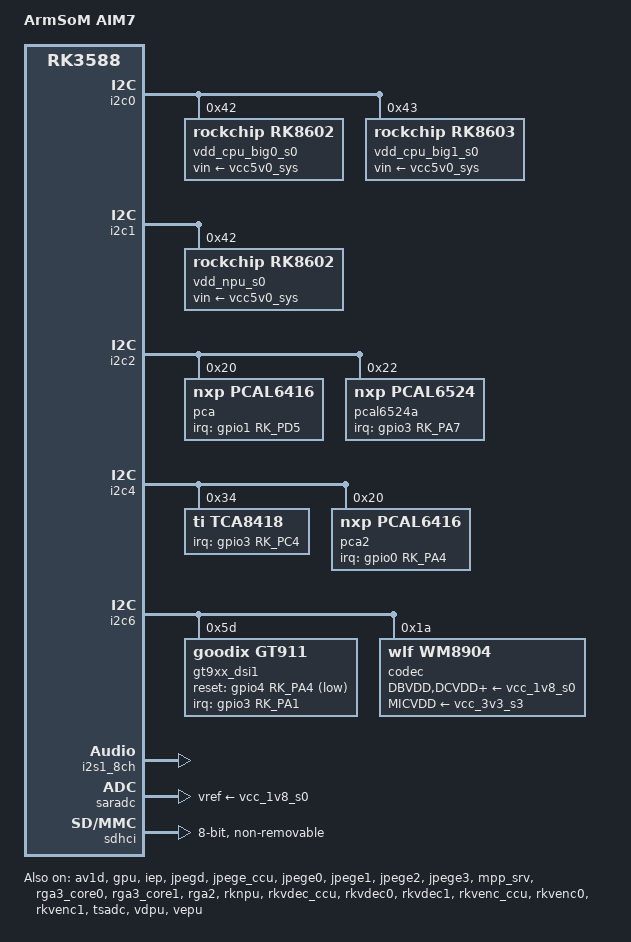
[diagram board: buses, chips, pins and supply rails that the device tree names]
// SPDX-License-Identifier: (GPL-2.0+ OR MIT)
/*
 * Copyright (c) 2024 Jianfeng Liu <liujianfeng1994@gmail.com>
 *#include "rk3588-lubancat-cam.dtsi" #include "rk3588-lubancat-5io-cam0.dtsi"
 */

#include <dt-bindings/gpio/gpio.h>
#include <dt-bindings/pinctrl/rockchip.h>
#include "rk3588.dtsi"
#include "rk3588-rk806-single.dtsi"
#include <dt-bindings/usb/pd.h>
#include <dt-bindings/pwm/pwm.h>
#include <dt-bindings/input/linux-event-codes.h>
#include <dt-bindings/display/rockchip_vop.h>
#include <dt-bindings/sensor-dev.h>
#include "rk3588-linux.dtsi"
#include <dt-bindings/clock/rk3588-cru.h>
#include <dt-bindings/power/rk3588-power.h>

/ {
	model = "ArmSoM AIM7 ";
	compatible = "armsom,aim7", "rockchip,rk3588";
	
		wm8904_sound: wm8904_sound {
		compatible = "simple-audio-card";
		simple-audio-card,format = "i2s";
		simple-audio-card,mclk-fs = <256>;
		simple-audio-card,name = "rockchip-wm8904";
		simple-audio-card,cpu {
				sound-dai = <&i2s1_8ch>;
			};
		simple-audio-card,codec {
				sound-dai = <&codec>;
			};
		
	};
	
	/*wm8904_sound: wm8904-sound {
		status = "okay";
		compatible = "rockchip,multicodecs-card";
		rockchip,card-name = "rockchip-wm8904";
		rockchip,codec-hp-det;
		poll-interval = <100>;
		rockchip,format = "i2s";
		rockchip,mclk-fs = <256>;
		rockchip,cpu = <&i2s1_8ch>;
		rockchip,codec = <&codec>;
		rockchip,audio-routing =
		
			"Headphone", "LOUT1",
			"Headphone", "ROUT1",
			"Headphone", "Headphone Power",
			"Headphone", "Headphone Power",
			"LINPUT1", "Main Mic",
			"LINPUT2", "Main Mic",
			"RINPUT1", "Headset Mic",
			"RINPUT2", "Headset Mic";
		
	};*/
};

&av1d {
	status = "okay";
};

&av1d_mmu {
	status = "okay";
};

&cpu_l0 {
	cpu-supply = <&vdd_cpu_lit_s0>;
	mem-supply = <&vdd_cpu_lit_mem_s0>;
};

&cpu_b0 {
	cpu-supply = <&vdd_cpu_big0_s0>;
	mem-supply = <&vdd_cpu_big0_mem_s0>;
};

&cpu_b2 {
	cpu-supply = <&vdd_cpu_big1_s0>;
	mem-supply = <&vdd_cpu_big1_mem_s0>;
};

&gpu {
	mali-supply = <&vdd_gpu_s0>;
	mem-supply = <&vdd_gpu_mem_s0>;
	status = "okay";
};

&i2c0 {
	status = "okay";
	pinctrl-names = "default";
	pinctrl-0 = <&i2c0m2_xfer>;

	vdd_cpu_big0_s0: vdd_cpu_big0_mem_s0: rk8602@42 {
		compatible = "rockchip,rk8602";
		reg = <0x42>;
		vin-supply = <&vcc5v0_sys>;
		regulator-compatible = "rk860x-reg";
		regulator-name = "vdd_cpu_big0_s0";
		regulator-min-microvolt = <550000>;
		regulator-max-microvolt = <1050000>;
		regulator-ramp-delay = <2300>;
		rockchip,suspend-voltage-selector = <1>;
		regulator-boot-on;
		regulator-always-on;

		regulator-state-mem {
			regulator-off-in-suspend;
		};
	};

	vdd_cpu_big1_s0: vdd_cpu_big1_mem_s0: rk8603@43 {
		compatible = "rockchip,rk8603";
		reg = <0x43>;
		vin-supply = <&vcc5v0_sys>;
		regulator-compatible = "rk860x-reg";
		regulator-name = "vdd_cpu_big1_s0";
		regulator-min-microvolt = <550000>;
		regulator-max-microvolt = <1050000>;
		regulator-ramp-delay = <2300>;
		rockchip,suspend-voltage-selector = <1>;
		regulator-boot-on;
		regulator-always-on;

		regulator-state-mem {
			regulator-off-in-suspend;
		};
	};
};

&i2c1 {
	status = "okay";
	pinctrl-names = "default";
	pinctrl-0 = <&i2c1m2_xfer>;

	vdd_npu_s0: vdd_npu_mem_s0: rk8602@42 {
		compatible = "rockchip,rk8602";
		reg = <0x42>;
		vin-supply = <&vcc5v0_sys>;
		regulator-compatible = "rk860x-reg";
		regulator-name = "vdd_npu_s0";
		regulator-min-microvolt = <550000>;
		regulator-max-microvolt = <950000>;
		regulator-ramp-delay = <2300>;
		rockchip,suspend-voltage-selector = <1>;
		regulator-boot-on;
		regulator-always-on;

		regulator-state-mem {
			regulator-off-in-suspend;
		};
	};
};

&i2c2 {
         status = "okay";
	pinctrl-names = "default";
	pinctrl-0 = <&i2c2m0_xfer>;
	 
  pca: pcal6416a@20 {
		   compatible = "nxp,pcal6416";
		     status = "okay";
		    gpio-controller;
		    #gpio-cells = <2>;
		    reg = <0x20>;
		interrupt-parent = <&gpio1>;
		 interrupts = <RK_PD5 IRQ_TYPE_LEVEL_HIGH>;
		interrupt-controller;
		 #interrupt-cells = <2>;                                
	           };
	           
	           
   pcal6524a@22 {
		   compatible = "nxp,pcal6524";
		    status = "okay";
		    gpio-controller;
		    #gpio-cells = <2>;
		    reg = <0x22>;
		interrupt-parent = <&gpio3>;
		 interrupts = <RK_PA7 IRQ_TYPE_LEVEL_HIGH>;
		interrupt-controller;
		 #interrupt-cells = <2>;
                    
	          };    
		    
		    
		    

};

&i2c4 {
        status = "okay";
	pinctrl-names = "default";
	pinctrl-0 = <&i2c4m2_xfer>;
	
	
 tca8418@34 {
                  compatible = "ti,tca8418";
                  interrupt-parent = <&gpio3>;
		 interrupts = <RK_PC4 IRQ_TYPE_LEVEL_HIGH>;
                   reg = <0x34>;
                   keypad,num-rows = <3>;
                   keypad,num-columns = <2>;
                   linux,keymap = <
                        0x0000003b
                        0x0001003c
                        0x0100003d
                        0x0101003e
                        0x0200003f
                        0x02010040
                      >;
                       status = "okay";
		    };
		    
	  	 
	
	  pca2: pcal6416@20 {
		   compatible = "nxp,pcal6416";
		     status = "okay";
		    gpio-controller;
		    #gpio-cells = <2>;
		    reg = <0x20>;
		interrupt-parent = <&gpio0>;
		 interrupts = <RK_PA4 IRQ_TYPE_LEVEL_HIGH>;
		interrupt-controller;
		 #interrupt-cells = <2>;
	           };
	

};
&i2c6 {
        status = "okay";
	pinctrl-names = "default";
	pinctrl-0 = <&i2c6m1_xfer>;
	
	
	 gt9xx_dsi1: gt911@5d {
	    status = "okay";
            compatible = "goodix,gt911";
            reg = <0x5d>;
            interrupt-parent = <&gpio3>;
	    interrupts = <RK_PA1 IRQ_TYPE_LEVEL_LOW>;
            reset-gpios = <&gpio4 RK_PA4  GPIO_ACTIVE_LOW>;
            irq-gpios = <&gpio3 RK_PA1  GPIO_ACTIVE_HIGH>;
            touchscreen-inverted-x = <1>;
	    touchscreen-inverted-y = <1>;
                };		
	
	  codec: wm8904@1a { 
               status = "okay";
		#sound-dai-cells = <0>;
		compatible = "wlf,wm8904";
		reg = <0x1a>;
		clocks = <&mclkout_i2s1>;
		clock-names = "mclk";
		assigned-clocks = <&mclkout_i2s1>;
		assigned-clock-rates = <12288000>;
		pinctrl-names = "default";
		pinctrl-0 = <&i2s1m0_mclk>;
		DBVDD-supply = <&vcc_1v8_s0>;
                DCVDD-supply = <&vcc_1v8_s0>;
                AVDD-supply = <&vcc_1v8_s0>;
                CPVDD-supply = <&vcc_1v8_s0>;
                MICVDD-supply = <&vcc_3v3_s3>;
                       };
                                         
	
};
&i2s1_8ch {
	status = "okay";
	rockchip,clk-trcm = <1>;
	pinctrl-names = "default";
	pinctrl-0 = <&i2s1m0_lrck
			     &i2s1m0_sclk
			     &i2s1m0_sdi0
			      &i2s1m0_sdo0
			     >;


			 
			 
};


/*

&i2c3 {
	 status = "okay";
         pinctrl-names = "default";
         pinctrl-0 = <&i2c3m0_xfer>;
    

	dcphy0_imx415: imx415@1a {
		compatible = "sony,imx586";
		status = "okay";
		reg = <0x1a>;
		clocks = <&ext_cam_24m_clk>;
		clock-names = "xvclk";
		power-domains = <&power RK3588_PD_VI>;
		avdd-supply = <&cam_avdd>;
		dovdd-supply = <&cam_dovdd>;
		dvdd-supply = <&cam_dvdd>;
	//	pwdn-gpios = <&gpio6 0 GPIO_ACTIVE_HIGH>;
		reset-gpios = <&gpio3 RK_PA2 GPIO_ACTIVE_LOW>;

		rockchip,camera-module-index = <0>;
		rockchip,camera-module-facing = "back";
		rockchip,camera-module-name = "RADXA-CAMERA-8M";
		rockchip,camera-module-lens-name =  "default";
		//lens-focus = <&dw9800w>;
		// NO_HDR:0 HDR_X2:5 HDR_X3:6
		// rockchip,camera-hdr-mode = <0>;
		port {
			imx415_dcphy0_out: endpoint {
				remote-endpoint = <&dcphy0_in_imx415>;
				data-lanes = <1 2 3 4>;
			};
		};
	};
};

&mipi_dcphy0 {
	status = "okay";
};

&csi2_dcphy0 {
	status = "okay";
	
	ports {
		#address-cells = <1>;
		#size-cells = <0>;

		port@0 {
			reg = <0>;
			#address-cells = <1>;
			#size-cells = <0>;

			dcphy0_in_imx415: endpoint@5 {
				reg = <1>;
				remote-endpoint = <&imx415_dcphy0_out>;
				data-lanes = <1 2 3 4>;
			};
		};

		port@1 {
			reg = <1>;
			#address-cells = <1>;
			#size-cells = <0>;

			csidcphy0_out: endpoint@0 {
				reg = <0>;
				remote-endpoint = <&mipi0_csi2_input>;
			};
		};
	};
};

&mipi0_csi2 {
	status = "okay";

	ports {
		#address-cells = <1>;
		#size-cells = <0>;

		port@0 {
			reg = <0>;
			#address-cells = <1>;
			#size-cells = <0>;

			mipi0_csi2_input: endpoint@1 {
				reg = <1>;
				remote-endpoint = <&csidcphy0_out>;
			};
		};

		port@1 {
			reg = <1>;
			#address-cells = <1>;
			#size-cells = <0>;

			mipi0_csi2_output: endpoint@0 {
				reg = <0>;
				remote-endpoint = <&cif_mipi_in0>;
			};
		};
	};
};

&rkcif {
	status = "okay";
};

&rkcif_mipi_lvds {
	status = "okay";

	port {
		cif_mipi_in0: endpoint {
			remote-endpoint = <&mipi0_csi2_output>;
		};
	};
};

&rkcif_mipi_lvds_sditf {
	status = "okay";

	port {
		mipi_lvds_sditf: endpoint {
			remote-endpoint = <&isp0_vir0>;
		};
	};
};

&rkcif_mmu {
	status = "okay";
};

&rkisp0 {
	status = "okay";
};

&isp0_mmu {
	status = "okay";
};

&rkisp0_vir0 {
	status = "okay";

	port {
		#address-cells = <1>;
		#size-cells = <0>;

		isp0_vir0: endpoint@0 {
			reg = <0>;
			remote-endpoint = <&mipi_lvds_sditf>;
		};
	};
};


*/



/*
&i2c3 {
    status = "okay";
    #address-cells = <1>;
    #size-cells = <0>;
    pinctrl-names = "default";
    pinctrl-0 = <&i2c3m0_xfer>;
    
    imx586: imx586@1a {
        status = "okay";
        compatible = "sony,imx586";
        reg = <0x1a>;
        clocks = <&ext_cam_24m_clk>;
        clock-names = "xvclk";
        power-domains = <&power RK3588_PD_VI>;
	avdd-supply = <&cam_avdd>;
	dovdd-supply = <&cam_dovdd>;
	dvdd-supply = <&cam_dvdd>;
	reset-gpios = <&gpio3 RK_PA2 GPIO_ACTIVE_HIGH>;
      //pwdn-gpios = <&gpio3 RK_PA2 GPIO_ACTIVE_HIGH>;
	rockchip,camera-module-index = <0>;
	rockchip,camera-module-facing = "back";
	rockchip,camera-module-name = "CMK-OT1607-FV1";
	rockchip,camera-module-lens-name = "M12-40IRC-4MP-F16";
	port {
		imx586_out0: endpoint {
			remote-endpoint = <&mipidphy0_in_ucam0>;
			data-lanes = <1 2>;
				     };
	     };
        };
};


&mipi_dcphy0 {
	status = "okay";
};



&csi2_dphy0_hw {
    status = "okay";
};

&csi2_dphy1_hw {
    status = "okay";
};


&csi2_dphy0 {
    status = "okay";

    ports {
        #address-cells = <1>;
        #size-cells = <0>;

        port@0 {
            reg = <0>;
            #address-cells = <1>;
            #size-cells = <0>;

            mipidphy0_in_ucam0: endpoint@1 {
                reg = <1>;
                remote-endpoint = <&imx586_out0>;
                data-lanes = <1 2>;
            };

        };

        port@1 {
            reg = <1>;
            #address-cells = <1>;
            #size-cells = <0>;

            csidphy0_out: endpoint@0 {
                reg = <0>;
                remote-endpoint = <&mipi2_csi2_input>;
            };
        };
    };
};

&mipi2_csi2 {
    status = "okay";

    ports {
        #address-cells = <1>;
        #size-cells = <0>;

        port@0 {
            reg = <0>;
            #address-cells = <1>;
            #size-cells = <0>;

            mipi2_csi2_input: endpoint@1 {
                reg = <1>;
                remote-endpoint = <&csidphy0_out>;
            };
        };

        port@1 {
            reg = <1>;
            #address-cells = <1>;
            #size-cells = <0>;

            mipi2_csi2_output: endpoint@0 {
                reg = <0>;
                remote-endpoint = <&cif_mipi2_in0>;
            };
        };
    };
};
&rkcif {
    status = "okay";
};

&rkcif_mipi_lvds2 {
    status = "okay";

    port {
        cif_mipi2_in0: endpoint {
            remote-endpoint = <&mipi2_csi2_output>;
        };
    };
};

&rkcif_mipi_lvds2_sditf {
    status = "okay";

    port {
        mipi_lvds2_sditf: endpoint {
            remote-endpoint = <&isp0_vir0>;
        };
    };
};

&rkcif_mmu {
    status = "okay";
};

&rkisp0 {
    status = "okay";
};

&isp0_mmu {
    status = "okay";
};

&rkisp0_vir0 {
    status = "okay";

    port {
        #address-cells = <1>;
        #size-cells = <0>;

        isp0_vir0: endpoint@0 {
            reg = <0>;
            remote-endpoint = <&mipi_lvds2_sditf>;
        };
    };
};

*/












&iep {
	status = "okay";
};

&iep_mmu {
	status = "okay";
};

&jpegd {
	status = "okay";
};

&jpegd_mmu {
	status = "okay";
};

&jpege_ccu {
	status = "okay";
};

&jpege0 {
	status = "okay";
};

&jpege0_mmu {
	status = "okay";
};

&jpege1 {
	status = "okay";
};

&jpege1_mmu {
	status = "okay";
};

&jpege2 {
	status = "okay";
};

&jpege2_mmu {
	status = "okay";
};

&jpege3 {
	status = "okay";
};

&jpege3_mmu {
	status = "okay";
};

&mpp_srv {
	status = "okay";
};

&rga3_core0 {
	status = "okay";
};

&rga3_0_mmu {
	status = "okay";
};

&rga3_core1 {
	status = "okay";
};

&rga3_1_mmu {
	status = "okay";
};

&rga2 {
	status = "okay";
};

&rknpu {
	rknpu-supply = <&vdd_npu_s0>;
	mem-supply = <&vdd_npu_mem_s0>;
	status = "okay";
};

&rknpu_mmu {
	status = "okay";
};

&rkvdec_ccu {
	status = "okay";
};

&rkvdec0 {
	status = "okay";
};

&rkvdec0_mmu {
	status = "okay";
};

&rkvdec1 {
	status = "okay";
};

&rkvdec1_mmu {
	status = "okay";
};

&rkvenc_ccu {
	status = "okay";
};

&rkvenc0 {
	status = "okay";
};

&rkvenc0_mmu {
	status = "okay";
};

&rkvenc1 {
	status = "okay";
};

&rkvenc1_mmu {
	status = "okay";
};

&rockchip_suspend {
	status = "okay";
	rockchip,sleep-debug-en = <1>;
};

&saradc {
	status = "okay";
	vref-supply = <&vcc_1v8_s0>;
};

&sdhci {
	bus-width = <8>;
	no-sdio;
	no-sd;
	non-removable;
	max-frequency = <200000000>;
	mmc-hs400-1_8v;
	mmc-hs400-enhanced-strobe;
	full-pwr-cycle-in-suspend;
	status = "okay";
};

&tsadc {
	status = "okay";
};

&vdpu {
	status = "okay";
};

&vdpu_mmu {
	status = "okay";
};

&vepu {
	status = "okay";
};





